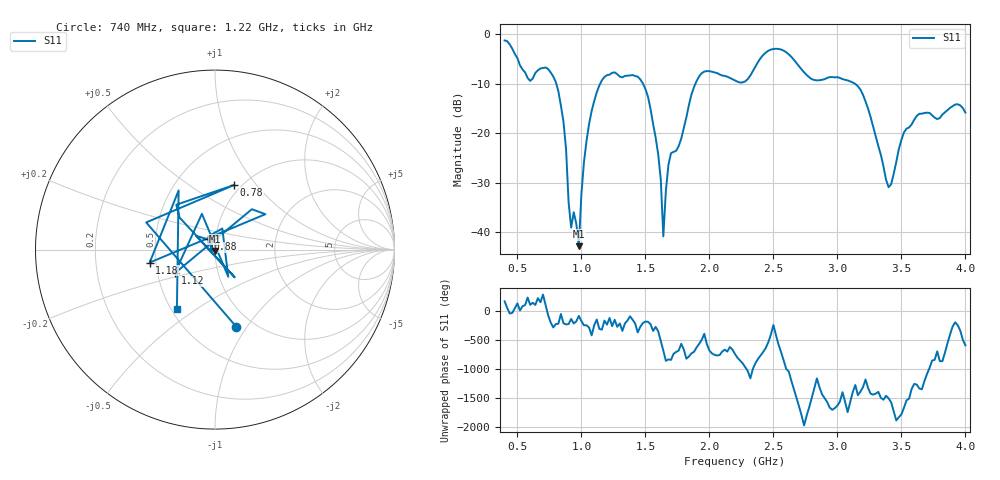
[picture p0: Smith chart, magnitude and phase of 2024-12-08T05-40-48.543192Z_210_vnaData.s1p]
!Created with skrf (http://scikit-rf.org).
# Hz S RI R 50.0
!freq ReS11 ImS11
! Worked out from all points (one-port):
!   181 points, 400 MHz to 4 GHz, reference 50 ohm
!   lowest |S11| = -42.8 dB at 980 MHz (marker M1), VSWR 1.01, Z = 50 - j0.724 ohm
!   |S11| at or under -10 dB: 804 MHz to 1.146 GHz (342.3 MHz wide, 35.1 % of centre); 1.482 GHz to 1.891 GHz (409 MHz wide, 24.3 % of centre); 3.139 GHz to end of sweep
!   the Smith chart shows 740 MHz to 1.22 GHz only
!   S11 on the Smith chart (normalised r, x): 740 MHz: 0.83, -0.89; 780 MHz: 0.93, +0.78; 880 MHz: 0.92, +0.11; 1.12 GHz: 0.62, -0.17; 1.18 GHz: 0.46, -0.08; 1.22 GHz: 0.54, -0.42
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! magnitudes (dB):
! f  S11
! 400 MHz  -1.2
! 600 MHz  -9.4
! 740 MHz  -7.0
! 780 MHz  -8.5
! 860 MHz  -17.7
! 880 MHz  -23.1
! 920 MHz  -39.1
! 940 MHz  -35.9
! 980 MHz  -42.8
! 1.02 GHz  -25.8
! 1.12 GHz  -11.7
! 1.18 GHz  -8.6
! 1.22 GHz  -8.1
! 1.3 GHz  -8.5
! 1.52 GHz  -12.6
! 1.6 GHz  -24.3
! 1.64 GHz  -40.8
! 1.68 GHz  -26.4
! 1.76 GHz  -22.6
! 1.94 GHz  -7.8
! 2.2 GHz  -9.3
! 2.48 GHz  -3.1
! 2.66 GHz  -5.1
! 3.1 GHz  -9.5
! 3.22 GHz  -13.6
! 3.4 GHz  -30.9
! 3.56 GHz  -18.8
! 4 GHz  -15.8
